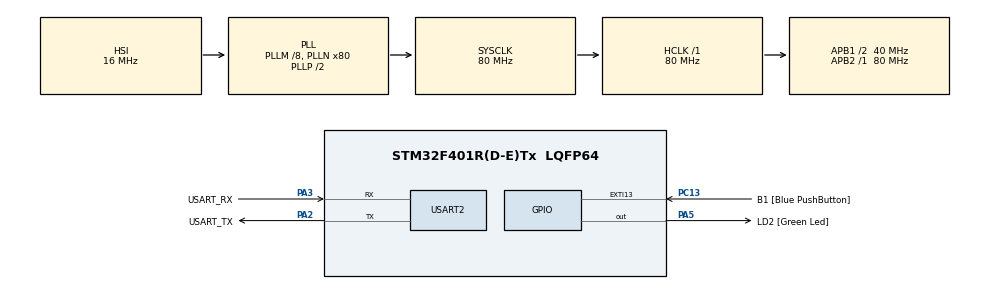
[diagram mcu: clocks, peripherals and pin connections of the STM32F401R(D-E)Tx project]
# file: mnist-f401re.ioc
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Mcu.Family=STM32F4
Mcu.Name=STM32F401R(D-E)Tx
Mcu.Package=LQFP64
NVIC.PriorityGroup=NVIC_PRIORITYGROUP_0
PA13.GPIO_Label=TMS
PA13.Mode=Serial_Wire
PA13.Signal=SYS_JTMS-SWDIO
PA14.GPIO_Label=TCK
PA14.Mode=Serial_Wire
PA14.Signal=SYS_JTCK-SWCLK
PA2.GPIO_Label=USART_TX
PA2.GPIO_Mode=GPIO_MODE_AF_PP
PA2.GPIO_PuPd=GPIO_NOPULL
PA2.GPIO_Speed=GPIO_SPEED_FREQ_LOW
PA2.Mode=Asynchronous
PA2.Signal=USART2_TX
PA3.GPIO_Label=USART_RX
PA3.GPIO_Mode=GPIO_MODE_AF_PP
PA3.GPIO_PuPd=GPIO_NOPULL
PA3.GPIO_Speed=GPIO_SPEED_FREQ_LOW
PA3.Mode=Asynchronous
PA3.Signal=USART2_RX
PA5.GPIO_Label=LD2 [Green Led]
PA5.GPIO_Mode=GPIO_MODE_OUTPUT_PP
PA5.GPIO_PuPd=GPIO_NOPULL
PA5.GPIO_Speed=GPIO_SPEED_FREQ_LOW
PA5.Signal=GPIO_Output
PB3.GPIO_Label=SWO
PB3.Signal=SYS_JTDO-SWO
PC13-ANTI_TAMP.GPIO_Label=B1 [Blue PushButton]
PC13-ANTI_TAMP.GPIO_ModeDefaultEXTI=GPIO_MODE_IT_FALLING
PC13-ANTI_TAMP.GPIO_PuPd=GPIO_NOPULL
PC13-ANTI_TAMP.Signal=GPXTI13
PC14-OSC32_IN.Mode=LSE-External-Oscillator
PC14-OSC32_IN.Signal=RCC_OSC32_IN
PC15-OSC32_OUT.Mode=LSE-External-Oscillator
PC15-OSC32_OUT.Signal=RCC_OSC32_OUT
PH0\ -\ OSC_IN.Mode=HSE-External-Clock-Source
PH0\ -\ OSC_IN.Signal=RCC_OSC_IN
PH1\ -\ OSC_OUT.Mode=HSE-External-Clock-Source
PH1\ -\ OSC_OUT.Signal=RCC_OSC_OUT
ProjectManager.HeapSize=0x200
ProjectManager.StackSize=0x400
ProjectManager.TargetToolchain=STM32CubeIDE
RCC.48MHZClocksFreq_Value=22857142.85714286
RCC.AHBFreq_Value=80000000
RCC.APB1CLKDivider=RCC_HCLK_DIV2
RCC.APB1Freq_Value=40000000
RCC.APB1TimFreq_Value=80000000
RCC.APB2Freq_Value=80000000
RCC.APB2TimFreq_Value=80000000
RCC.CortexFreq_Value=80000000
RCC.HCLKFreq_Value=80000000
RCC.HSE_VALUE=8000000
RCC.HSI_VALUE=16000000
RCC.PLLM=8
RCC.PLLN=80
RCC.PLLQ=7
RCC.SYSCLKFreq_VALUE=80000000
RCC.SYSCLKSource=RCC_SYSCLKSOURCE_PLLCLK
RCC.VCOOutputFreq_Value=160000000
TIM10.Prescaler=79
USART2.VirtualMode=VM_ASYNC
VP_TIM10_VS_ClockSourceINT.Mode=Enable_Timer
board=NUCLEO-F401RE

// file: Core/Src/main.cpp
/* USER CODE BEGIN Header */
/**
  ******************************************************************************
  * @file           : main.c
  * @brief          : Main program body
  ******************************************************************************
  * @attention
  *
  * <h2><center>&copy; Copyright (c) 2021 STMicroelectronics.
  * All rights reserved.</center></h2>
  *
  * This software component is licensed by ST under BSD 3-Clause license,
  * the "License"; You may not use this file except in compliance with the
  * License. You may obtain a copy of the License at:
  *                        opensource.org/licenses/BSD-3-Clause
  *
  ******************************************************************************
  */
/* USER CODE END Header */
#include "main.h"
#include <string.h>
#include <math.h>

#include "tensorflow/lite/micro/all_ops_resolver.h"
#include "model_mnist.h"
#include "tensorflow/lite/micro/micro_error_reporter.h"
#include "tensorflow/lite/micro/micro_interpreter.h"
#include "tensorflow/lite/micro/testing/micro_test.h"
#include "tensorflow/lite/schema/schema_generated.h"

TIM_HandleTypeDef htim10;

UART_HandleTypeDef huart2;

/* USER CODE BEGIN PV */
namespace {
  tflite::ErrorReporter* error_reporter = nullptr;
  const tflite::Model* model = nullptr;
  tflite::MicroInterpreter* interpreter = nullptr;
  TfLiteTensor* model_input = nullptr;
  TfLiteTensor* model_output = nullptr;

  // Create an area of memory to use for input, output, and other TensorFlow
  // arrays. You'll need to adjust this by compiling, running, and looking
  // for errors.
  constexpr int kTensorArenaSize = 10 * 1024;
  __attribute__((aligned(16)))uint8_t tensor_arena[kTensorArenaSize];
}
/* USER CODE END PV */

void SystemClock_Config(void);
static void MX_GPIO_Init(void);
static void MX_USART2_UART_Init(void);
static void MX_TIM10_Init(void);
static void readUartBytes(float *data, int imageSize);

int main(void)
{
	  /* USER CODE BEGIN 1 */
	  char buf[50];
	  int buf_len = 0;
	  TfLiteStatus tflite_status;
	  uint32_t num_elements;
	  uint32_t timestamp;

	  int imagesize = 28*28*1;
	  /* USER CODE END 1 */

	  /* MCU Configuration--------------------------------------------------------*/

	  /* Reset of all peripherals, Initializes the Flash interface and the Systick. */
	  HAL_Init();

	  /* Configure the system clock */
	  SystemClock_Config();

	  /* Initialize all configured peripherals */
	  MX_GPIO_Init();
	  MX_TIM10_Init();
	  MX_USART2_UART_Init();
	  /* USER CODE BEGIN 2 */

	  HAL_TIM_Base_Start(&htim10);

	  static tflite::MicroErrorReporter micro_error_reporter;
	  error_reporter = &micro_error_reporter;

	  error_reporter->Report("STM32 TensorFlow Lite test");

	  model = tflite::GetModel(mnist_model);
	  if (model->version() != TFLITE_SCHEMA_VERSION)
	  {
		 error_reporter->Report("Model version does not match Schema");
		 while(1);
	  }

	  static tflite::MicroMutableOpResolver<3> micro_op_resolver;

	  tflite_status = micro_op_resolver.AddFullyConnected();
	  if (tflite_status != kTfLiteOk)
	  {
	  	error_reporter->Report("Could not add FULLY CONNECTED op");
	  	while(1);
	  }

	  tflite_status = micro_op_resolver.AddSoftmax();
	  if (tflite_status != kTfLiteOk)
	  {
	    error_reporter->Report("Could not add SOFTMAX op");
	  	while(1);
	  }

	  tflite_status = micro_op_resolver.AddReshape();
	  if (tflite_status != kTfLiteOk)
	  {
		error_reporter->Report("Could not add FLATTEN op");
		while(1);
	  }

	  // Build an interpreter to run the model with.
	  static tflite::MicroInterpreter static_interpreter(
	      model, micro_op_resolver, tensor_arena, kTensorArenaSize, error_reporter);
	  interpreter = &static_interpreter;

	  tflite_status = interpreter->AllocateTensors();
	  if (tflite_status != kTfLiteOk)
	  {
	    error_reporter->Report("AllocateTensors() failed");
	    while(1);
	  }

	  // Assign model input and output buffers (tensors) to pointers
	  model_input = interpreter->input(0);
	  model_output = interpreter->output(0);

	  // Get number of elements in input tensor
	  num_elements = model_input->bytes / sizeof(float);
	  buf_len = sprintf(buf, "Number of input elements: %lu\r\n", num_elements);
	  HAL_UART_Transmit(&huart2, (uint8_t *)buf, buf_len, 100);

	  /* USER CODE END 2 */

	  /* Infinite loop */
	  /* USER CODE BEGIN WHILE */

	  buf_len = sprintf(buf, "start!\n");
	  HAL_UART_Transmit(&huart2, (uint8_t *)buf, buf_len, HAL_MAX_DELAY);

	  while (1)
	  {
	//    /* USER CODE END WHILE */

		readUartBytes(model_input->data.f, imagesize);

	    // Get current timestamp
	    timestamp = htim10.Instance->CNT;
	    /* USER CODE BEGIN 3 */

	    // Run inference
		tflite_status = interpreter->Invoke();
		if (tflite_status != kTfLiteOk)
		{
		  error_reporter->Report("Invoke failed");
		}

		// Read output (predicted y) of neural network
		//y_val = model_output->data.f;

		//	char str[250] = {0};
		//	int numElements = model_output->dims->data[1];
		//	for (int i = 0; i < numElements; i++)
		//	{
		//		sprintf(buf, "%e,", static_cast<float>(model_output->data.f[i]));
		//		strcat(str, buf);
		//	}
		//	strcat(str, "\n");
		//
		//	int len = strlen(str);
		//	HAL_UART_Transmit(&huart1, (uint8_t *)str, len, HAL_MAX_DELAY);

		float max = 0.0f;
		int maxIndex = 0;

		for(int i=0; i<10; i++)
		{
			float val = model_output->data.f[i];
			if(max<val)
			{
				max = val;
				maxIndex = i;
			}
		}

		uint32_t timestamp_next = htim10.Instance->CNT;
		timestamp = (timestamp_next<timestamp)?(65536 - timestamp + timestamp_next):
											   (timestamp_next-timestamp);

		buf_len = sprintf(buf,
						  "Predicted: %u | Duration: %lu\r\n",
						  maxIndex,
						  timestamp);
		HAL_UART_Transmit(&huart2, (uint8_t *)buf, buf_len, 100);

		//HAL_Delay(500);
	  }
  /* USER CODE END 3 */
}

void readUartBytes(float *data, int imageSize)
{
    uint8_t *rxBuffer = (uint8_t *)malloc(imageSize);
    for(int i=0;i<imageSize;i++)
    {
    	HAL_UART_Receive(&huart2, (rxBuffer+i), 1, HAL_MAX_DELAY);
    	data[i] = static_cast<float>(rxBuffer[i]) / 255.0f;
    }
    free(rxBuffer);
    //rxBytes = HAL_UART_Receive(&huart1, rxBuffer, imageSize, HAL_MAX_DELAY);
}
void SystemClock_Config(void)
{
  RCC_OscInitTypeDef RCC_OscInitStruct = {0};
  RCC_ClkInitTypeDef RCC_ClkInitStruct = {0};

  /** Configure the main internal regulator output voltage
  */
  __HAL_RCC_PWR_CLK_ENABLE();
  __HAL_PWR_VOLTAGESCALING_CONFIG(PWR_REGULATOR_VOLTAGE_SCALE2);
  /** Initializes the RCC Oscillators according to the specified parameters
  * in the RCC_OscInitTypeDef structure.
  */
  RCC_OscInitStruct.OscillatorType = RCC_OSCILLATORTYPE_HSI;
  RCC_OscInitStruct.HSIState = RCC_HSI_ON;
  RCC_OscInitStruct.HSICalibrationValue = RCC_HSICALIBRATION_DEFAULT;
  RCC_OscInitStruct.PLL.PLLState = RCC_PLL_ON;
  RCC_OscInitStruct.PLL.PLLSource = RCC_PLLSOURCE_HSI;
  RCC_OscInitStruct.PLL.PLLM = 8;
  RCC_OscInitStruct.PLL.PLLN = 80;
  RCC_OscInitStruct.PLL.PLLP = RCC_PLLP_DIV2;
  RCC_OscInitStruct.PLL.PLLQ = 7;
  if (HAL_RCC_OscConfig(&RCC_OscInitStruct) != HAL_OK)
  {
    Error_Handler();
  }
  /** Initializes the CPU, AHB and APB buses clocks
  */
  RCC_ClkInitStruct.ClockType = RCC_CLOCKTYPE_HCLK|RCC_CLOCKTYPE_SYSCLK
                              |RCC_CLOCKTYPE_PCLK1|RCC_CLOCKTYPE_PCLK2;
  RCC_ClkInitStruct.SYSCLKSource = RCC_SYSCLKSOURCE_PLLCLK;
  RCC_ClkInitStruct.AHBCLKDivider = RCC_SYSCLK_DIV1;
  RCC_ClkInitStruct.APB1CLKDivider = RCC_HCLK_DIV2;
  RCC_ClkInitStruct.APB2CLKDivider = RCC_HCLK_DIV1;

  if (HAL_RCC_ClockConfig(&RCC_ClkInitStruct, FLASH_LATENCY_2) != HAL_OK)
  {
    Error_Handler();
  }
}

static void MX_TIM10_Init(void)
{

  htim10.Instance = TIM10;
  htim10.Init.Prescaler = 79;
  htim10.Init.CounterMode = TIM_COUNTERMODE_UP;
  htim10.Init.Period = 65535;
  htim10.Init.ClockDivision = TIM_CLOCKDIVISION_DIV1;
  htim10.Init.AutoReloadPreload = TIM_AUTORELOAD_PRELOAD_DISABLE;
  if (HAL_TIM_Base_Init(&htim10) != HAL_OK)
  {
    Error_Handler();
  }

}

static void MX_USART2_UART_Init(void)
{

  huart2.Instance = USART2;
  huart2.Init.BaudRate = 115200;
  huart2.Init.WordLength = UART_WORDLENGTH_8B;
  huart2.Init.StopBits = UART_STOPBITS_1;
  huart2.Init.Parity = UART_PARITY_NONE;
  huart2.Init.Mode = UART_MODE_TX_RX;
  huart2.Init.HwFlowCtl = UART_HWCONTROL_NONE;
  huart2.Init.OverSampling = UART_OVERSAMPLING_16;
  if (HAL_UART_Init(&huart2) != HAL_OK)
  {
    Error_Handler();
  }

}

static void MX_GPIO_Init(void)
{
  GPIO_InitTypeDef GPIO_InitStruct = {0};

  /* GPIO Ports Clock Enable */
  __HAL_RCC_GPIOC_CLK_ENABLE();
  __HAL_RCC_GPIOH_CLK_ENABLE();
  __HAL_RCC_GPIOA_CLK_ENABLE();
  __HAL_RCC_GPIOB_CLK_ENABLE();

  /*Configure GPIO pin Output Level */
  HAL_GPIO_WritePin(LD2_GPIO_Port, LD2_Pin, GPIO_PIN_RESET);

  /*Configure GPIO pin : B1_Pin */
  GPIO_InitStruct.Pin = B1_Pin;
  GPIO_InitStruct.Mode = GPIO_MODE_IT_FALLING;
  GPIO_InitStruct.Pull = GPIO_NOPULL;
  HAL_GPIO_Init(B1_GPIO_Port, &GPIO_InitStruct);

  /*Configure GPIO pin : LD2_Pin */
  GPIO_InitStruct.Pin = LD2_Pin;
  GPIO_InitStruct.Mode = GPIO_MODE_OUTPUT_PP;
  GPIO_InitStruct.Pull = GPIO_NOPULL;
  GPIO_InitStruct.Speed = GPIO_SPEED_FREQ_LOW;
  HAL_GPIO_Init(LD2_GPIO_Port, &GPIO_InitStruct);

}

void Error_Handler(void)
{
  __disable_irq();
  while (1)
  {
  }
}

/************************ (C) COPYRIGHT STMicroelectronics *****END OF FILE****/
